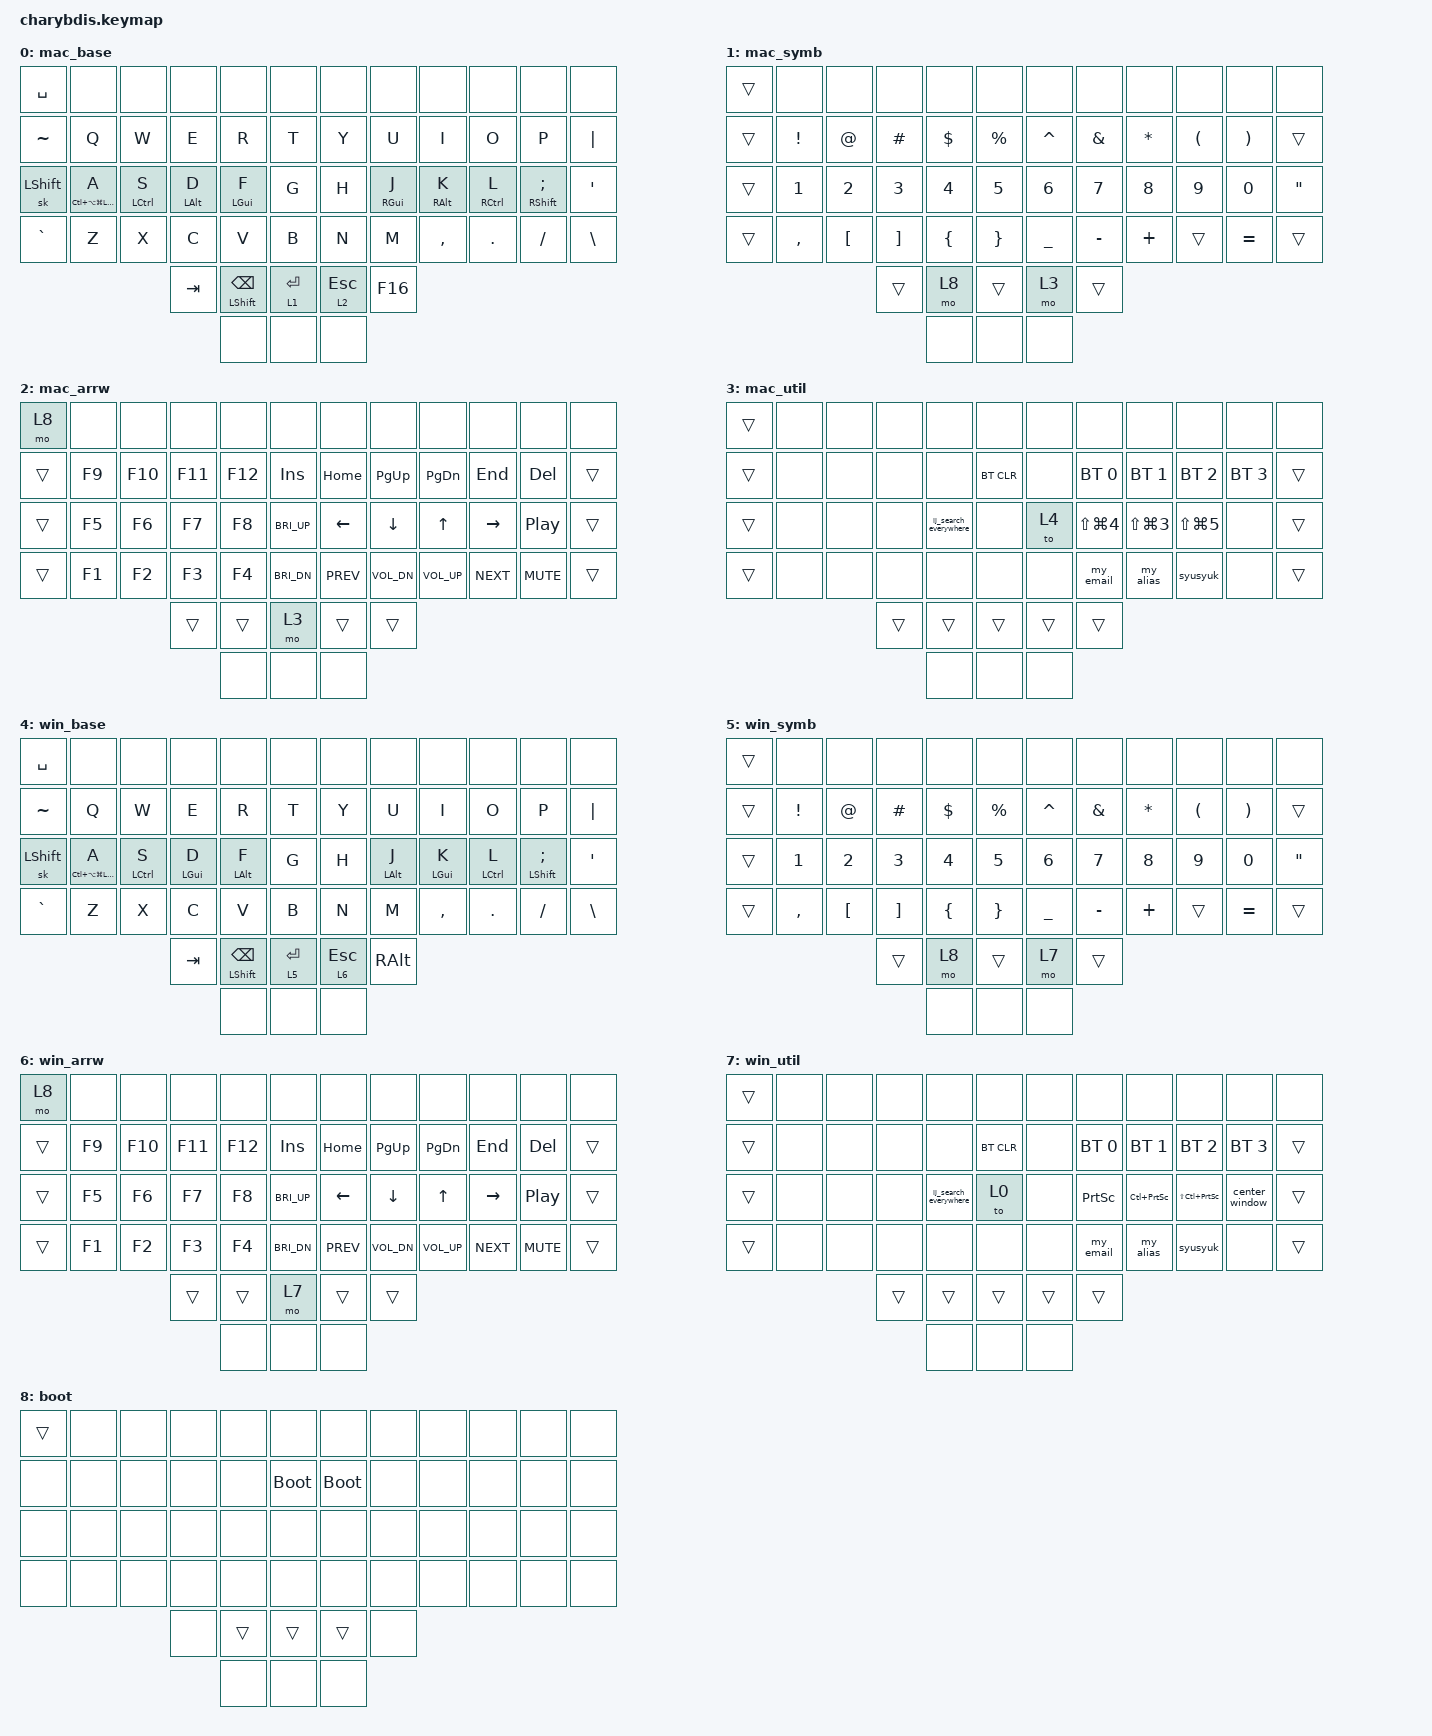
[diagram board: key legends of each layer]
/*
 * Copyright (c) 2020 The ZMK Contributors
 *
 * SPDX-License-Identifier: MIT
 */

#include <behaviors.dtsi>
#include <dt-bindings/zmk/bt.h>
#include <dt-bindings/zmk/keys.h>

&lt {
    tapping-term-ms = <180>;
    quick-tap-ms = <170>;
    flavor = "hold-preferred";
};

&mt {
    tapping-term-ms = <180>;
    quick-tap-ms = <170>;
};

//  0 <- right half center thumb key
// 12 13 14 15 16 17   18 19 20 21 22 23
// 24 25 26 27 28 29   30 31 32 33 34 35
// 36 37 38 39 40 41   42 43 44 45 46 47
//          48 49 50   51 52

/ {
    combos {
        compatible = "zmk,combos";

        mac_cut {
            bindings = <&kp LG(X)>;
            key-positions = <38 40>;
            timeout-ms = <30>;
            layers = <0>;
        };

        mac_copy {
            bindings = <&kp LG(C)>;
            key-positions = <38 39>;
            timeout-ms = <30>;
            layers = <0>;
        };

        mac_paste {
            bindings = <&kp LG(V)>;
            key-positions = <39 40>;
            timeout-ms = <30>;
            layers = <0>;
        };

        mac_undo {
            bindings = <&kp LG(Z)>;
            key-positions = <37 38>;
            timeout-ms = <30>;
            layers = <0>;
        };

        win_cut {
            bindings = <&kp LC(X)>;
            key-positions = <38 40>;
            timeout-ms = <30>;
            layers = <4>;
        };

        win_copy {
            bindings = <&kp LC(C)>;
            key-positions = <38 39>;
            timeout-ms = <30>;
            layers = <4>;
        };

        win_paste {
            bindings = <&kp LC(V)>;
            key-positions = <39 40>;
            timeout-ms = <30>;
            layers = <4>;
        };

        win_undo {
            bindings = <&kp LC(Z)>;
            key-positions = <37 38>;
            timeout-ms = <30>;
            layers = <4>;
        };

        sqt {
            bindings = <&kp SQT>;
            key-positions = <31 32>;
            timeout-ms = <30>;
            layers = <0 4>;
        };

        minus {
            bindings = <&kp MINUS>;
            key-positions = <32 33>;
            timeout-ms = <30>;
            layers = <0 4>;
        };

        grave {
            bindings = <&kp GRAVE>;
            key-positions = <43 44>;
            timeout-ms = <30>;
            layers = <0 4>;
        };

        bslh {
            bindings = <&kp BSLH>;
            key-positions = <44 45>;
            timeout-ms = <30>;
            layers = <0 4>;
        };

        lt {
            bindings = <&kp LT>;
            key-positions = <43 44>;
            timeout-ms = <30>;
            layers = <1 5>;
        };

        gt {
            bindings = <&kp GT>;
            key-positions = <44 45>;
            timeout-ms = <30>;
            layers = <1 5>;
        };

        youtube_speed_down {
            bindings = <&youtube_speed_down>;
            key-positions = <26 27>;
            timeout-ms = <30>;
            layers = <0 4>;
        };

        youtube_speed_up {
            bindings = <&youtube_speed_up>;
            key-positions = <27 28>;
            timeout-ms = <30>;
            layers = <0 4>;
        };
    };

    macros {
        my_email: my_email {
            compatible = "zmk,behavior-macro";
            #binding-cells = <0>;
            bindings = <&kp B &kp L &kp A &kp C &kp K &kp E &kp A &kp G &kp L &kp E &kp N1 &kp N0 &kp AT &kp I &kp C &kp L &kp O &kp U &kp D &kp DOT &kp C &kp O &kp M>;
            label = "MY_EMAIL";
        };

        my_alias: my_alias {
            compatible = "zmk,behavior-macro";
            #binding-cells = <0>;
            bindings = <&kp LS(U) &kp N &kp LS(E) &kp M &kp O &kp T &kp I &kp O &kp N &kp E &kp LS(D)>;
            label = "MY_ALIAS";
        };

        // Change YouTube playback speed after entering input mode of Vimium

        youtube_speed_down: youtube_speed_down {
            compatible = "zmk,behavior-macro";
            #binding-cells = <0>;
            bindings = <&kp I &kp LT &kp LT &kp LT &kp LT &kp ESC>;
            label = "YOUTUBE_SPEED_DOWN";
        };

        youtube_speed_up: youtube_speed_up {
            compatible = "zmk,behavior-macro";
            #binding-cells = <0>;
            bindings = <&kp I &kp GT &kp GT &kp GT &kp GT &kp ESC>;
            label = "YOUTUBE_SPEED_UP";
        };

        ij_search_everywhere: ij_search_everywhere {
            compatible = "zmk,behavior-macro";
            #binding-cells = <0>;
            bindings = <&kp LSHFT &kp LSHFT>;
            label = "IJ_SEARCH_EVERYWHERE";
        };

        center_window: center_window {
            compatible = "zmk,behavior-macro";
            #binding-cells = <0>;
            bindings = <&kp RSHFT &kp RSHFT &kp RSHFT>;
            label = "CENTER_WINDOW";
        };

        syusyuk: syusyuk {
            compatible = "zmk,behavior-macro";
            #binding-cells = <0>;
            bindings = <&kp T &kp B &kp T &kp B &kp R>;
            label = "SYUSYUK";
        };
    };

    behaviors {
        hrm_l: hrm_l {
            compatible = "zmk,behavior-hold-tap";
            label = "HRM_L";
            bindings = <&kp>, <&kp>;

            #binding-cells = <2>;
            tapping-term-ms = <180>;
            quick-tap-ms = <170>;
            flavor = "tap-preferred";
            hold-trigger-key-positions = <0 18 19 20 21 22 23 25 26 27 28 30 31 32 33 34 35 42 43 44 45 46 47 48 49 50 51 52>;
        };

        hrm_r: hrm_r {
            compatible = "zmk,behavior-hold-tap";
            label = "HRM_R";
            bindings = <&kp>, <&kp>;

            #binding-cells = <2>;
            tapping-term-ms = <180>;
            quick-tap-ms = <170>;
            flavor = "tap-preferred";
            hold-trigger-key-positions = <0 12 13 14 15 16 17 24 25 26 27 28 29 31 32 33 34 36 37 38 39 40 41 48 49 50 51 52>;
        };
    };

    keymap {
        compatible = "zmk,keymap";

        mac_base {
            bindings = <
&kp SPACE  &none                       &none           &none          &none           &none          &none      &none          &none          &none           &none              &none
&kp TILDE  &kp Q                       &kp W           &kp E          &kp R           &kp T          &kp Y      &kp U          &kp I          &kp O           &kp P              &kp PIPE
&sk LSHFT  &hrm_l LC(LA(LG(LSHFT))) A  &hrm_l LCTRL S  &hrm_l LALT D  &hrm_l LGUI F   &kp G          &kp H      &hrm_r RGUI J  &hrm_r RALT K  &hrm_r RCTRL L  &hrm_r RSHFT SEMI  &kp SQT
&kp GRAVE  &kp Z                       &kp X           &kp C          &kp V           &kp B          &kp N      &kp M          &kp COMMA      &kp DOT         &kp FSLH           &kp BSLH
                                                       &kp TAB        &mt LSHFT BSPC  &lt 1 ENTER    &lt 2 ESC  &kp F16
                                                                      &none           &none          &none
            >;
        };

        mac_symb {
            bindings = <
&trans  &none      &none     &none     &none     &none        &none      &none      &none      &none     &none      &none
&trans  &kp EXCL   &kp AT    &kp HASH  &kp DLLR  &kp PRCNT    &kp CARET  &kp AMPS   &kp ASTRK  &kp LPAR  &kp RPAR   &trans
&trans  &kp N1     &kp N2    &kp N3    &kp N4    &kp N5       &kp N6     &kp N7     &kp N8     &kp N9    &kp N0     &kp DQT
&trans  &kp COMMA  &kp LBKT  &kp RBKT  &kp LBRC  &kp RBRC     &kp UNDER  &kp MINUS  &kp PLUS   &trans    &kp EQUAL  &trans
                             &trans    &mo 8     &trans       &mo 3      &trans
                                       &none     &none        &none
            >;
        };

        mac_arrw {
            bindings = <
&mo 8   &none   &none    &none    &none    &none           &none       &none         &none         &none       &none       &none
&trans  &kp F9  &kp F10  &kp F11  &kp F12  &kp INS         &kp HOME    &kp PG_UP     &kp PG_DN     &kp END     &kp DEL     &trans
&trans  &kp F5  &kp F6   &kp F7   &kp F8   &kp C_BRI_UP    &kp LEFT    &kp DOWN      &kp UP        &kp RIGHT   &kp C_PP    &trans
&trans  &kp F1  &kp F2   &kp F3   &kp F4   &kp C_BRI_DN    &kp C_PREV  &kp C_VOL_DN  &kp C_VOL_UP  &kp C_NEXT  &kp C_MUTE  &trans
                         &trans   &trans   &mo 3           &trans      &trans
                                  &none    &none           &none
            >;
        };

        mac_util {
            bindings = <
&trans  &none  &none  &none   &none                  &none         &none   &none           &none           &none           &none         &none
&trans  &none  &none  &none   &none                  &bt BT_CLR    &none   &bt BT_SEL 0    &bt BT_SEL 1    &bt BT_SEL 2    &bt BT_SEL 3  &trans
&trans  &none  &none  &none   &ij_search_everywhere  &none         &to 4   &kp LS(LG(N4))  &kp LS(LG(N3))  &kp LS(LG(N5))  &none         &trans
&trans  &none  &none  &none   &none                  &none         &none   &my_email       &my_alias       &syusyuk        &none         &trans
                      &trans  &trans                 &trans        &trans  &trans
                              &none                  &none         &none
            >;
        };

        win_base {
            bindings = <
&kp SPACE  &none                       &none           &none          &none           &none          &none      &none          &none          &none           &none              &none
&kp TILDE  &kp Q                       &kp W           &kp E          &kp R           &kp T          &kp Y      &kp U          &kp I          &kp O           &kp P              &kp PIPE
&sk LSHFT  &hrm_l LC(LA(LG(LSHFT))) A  &hrm_l LCTRL S  &hrm_l LGUI D  &hrm_l LALT F   &kp G          &kp H      &hrm_r LALT J  &hrm_r LGUI K  &hrm_r LCTRL L  &hrm_r LSHFT SEMI  &kp SQT
&kp GRAVE  &kp Z                       &kp X           &kp C          &kp V           &kp B          &kp N      &kp M          &kp COMMA      &kp DOT         &kp FSLH           &kp BSLH
                                                       &kp TAB        &mt LSHFT BSPC  &lt 5 ENTER    &lt 6 ESC  &kp RALT
                                                                      &none           &none          &none
            >;
        };

        win_symb {
            bindings = <
&trans  &none      &none     &none     &none     &none        &none      &none      &none      &none     &none      &none
&trans  &kp EXCL   &kp AT    &kp HASH  &kp DLLR  &kp PRCNT    &kp CARET  &kp AMPS   &kp ASTRK  &kp LPAR  &kp RPAR   &trans
&trans  &kp N1     &kp N2    &kp N3    &kp N4    &kp N5       &kp N6     &kp N7     &kp N8     &kp N9    &kp N0     &kp DQT
&trans  &kp COMMA  &kp LBKT  &kp RBKT  &kp LBRC  &kp RBRC     &kp UNDER  &kp MINUS  &kp PLUS   &trans    &kp EQUAL  &trans
                             &trans    &mo 8     &trans       &mo 7      &trans
                                       &none     &none        &none
            >;
        };

        win_arrw {
            bindings = <
&mo 8   &none   &none    &none    &none    &none           &none       &none         &none         &none       &none       &none
&trans  &kp F9  &kp F10  &kp F11  &kp F12  &kp INS         &kp HOME    &kp PG_UP     &kp PG_DN     &kp END     &kp DEL     &trans
&trans  &kp F5  &kp F6   &kp F7   &kp F8   &kp C_BRI_UP    &kp LEFT    &kp DOWN      &kp UP        &kp RIGHT   &kp C_PP    &trans
&trans  &kp F1  &kp F2   &kp F3   &kp F4   &kp C_BRI_DN    &kp C_PREV  &kp C_VOL_DN  &kp C_VOL_UP  &kp C_NEXT  &kp C_MUTE  &trans
                         &trans   &trans   &mo 7           &trans      &trans
                                  &none    &none           &none
            >;
        };

        win_util {
            bindings = <
&trans  &none  &none  &none   &none                  &none         &none   &none            &none                &none                    &none           &none
&trans  &none  &none  &none   &none                  &bt BT_CLR    &none   &bt BT_SEL 0     &bt BT_SEL 1         &bt BT_SEL 2             &bt BT_SEL 3    &trans
&trans  &none  &none  &none   &ij_search_everywhere  &to 0         &none   &kp PRINTSCREEN  &kp LC(PRINTSCREEN)  &kp LS(LC(PRINTSCREEN))  &center_window  &trans
&trans  &none  &none  &none   &none                  &none         &none   &my_email        &my_alias            &syusyuk                 &none           &trans
                      &trans  &trans                 &trans        &trans  &trans
                              &none                  &none         &none
            >;
        };

        boot {
            bindings = <
&trans  &none  &none  &none  &none   &none          &none        &none  &none  &none  &none  &none
&none   &none  &none  &none  &none   &bootloader    &bootloader  &none  &none  &none  &none  &none
&none   &none  &none  &none  &none   &none          &none        &none  &none  &none  &none  &none
&none   &none  &none  &none  &none   &none          &none        &none  &none  &none  &none  &none
                      &none  &trans  &trans         &trans       &none
                             &none   &none          &none
            >;
        };
    };
};
